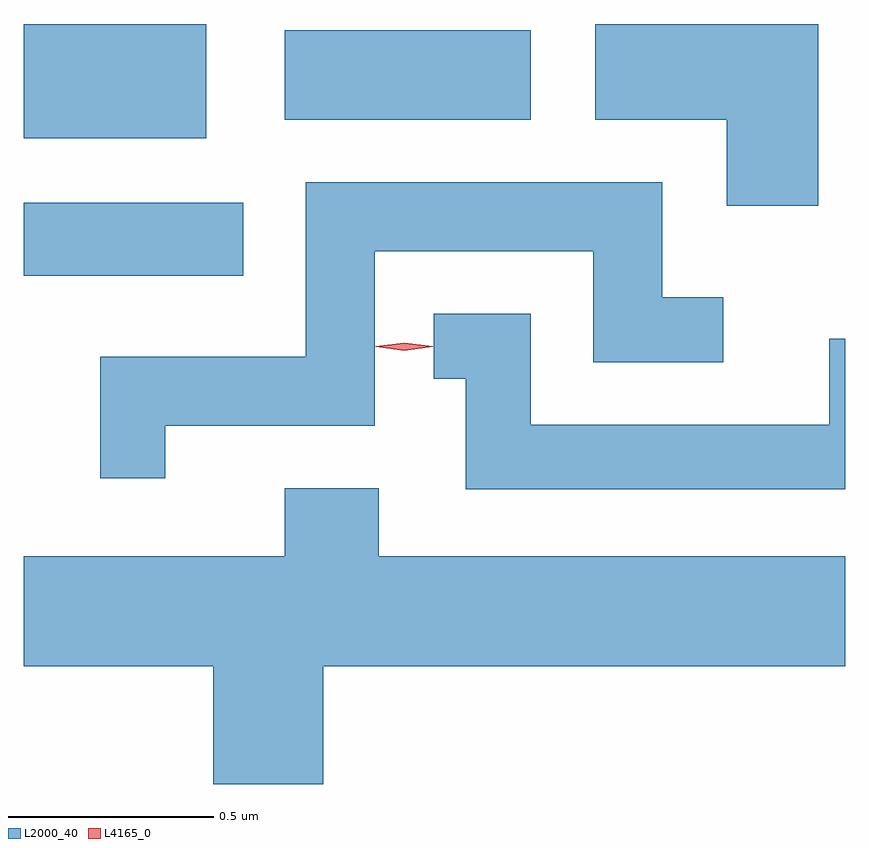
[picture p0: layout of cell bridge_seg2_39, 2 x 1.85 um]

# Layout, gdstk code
import gdstk
lib = gdstk.Library(unit=1e-6, precision=1e-09)
def R(c, l, rs):  # rectangles x0, y0, x1, y1
    for r in rs: c.add(gdstk.rectangle(r[:2], r[2:], *l))
def P(c, l, *ps):  # polygons
    for p in ps: c.add(gdstk.Polygon(p, *l))
L2000_40 = (2000, 40)
L4165_0 = (4165, 0)

bridge_seg2_39 = lib.new_cell('bridge_seg2_39')
R(bridge_seg2_39, L2000_40, [(1453.375,1053.706,1453.909,1053.884), (1453.375,1054.041,1453.819,1054.319), (1454.011,1054.086,1454.609,1054.304)])
P(bridge_seg2_39, L2000_40, [(1455.309,1054.319),(1454.766,1054.319),(1454.766,1054.086),(1455.086,1054.086),(1455.086,1053.876),(1455.309,1053.876)],
  [(1453.719,1053.341),(1454.229,1053.341),(1454.229,1053.766),(1454.761,1053.766),(1454.761,1053.496),(1455.078,1053.496),(1455.078,1053.654),(1454.929,1053.654),(1454.929,1053.934),(1454.061,1053.934),(1454.061,1053.509),(1453.561,1053.509),(1453.561,1053.213),(1453.719,1053.213)],
  [(1455.375,1053.553),(1455.336,1053.553),(1455.336,1053.344),(1454.609,1053.344),(1454.609,1053.614),(1454.373,1053.614),(1454.373,1053.456),(1454.451,1053.456),(1454.451,1053.186),(1455.375,1053.186)],
  [(1454.104,1052.756),(1455.375,1052.756),(1455.375,1053.024),(1454.239,1053.024),(1454.239,1053.189),(1454.011,1053.189),(1454.011,1053.024),(1453.375,1053.024),(1453.375,1052.756),(1453.836,1052.756),(1453.836,1052.469),(1454.104,1052.469)])
P(bridge_seg2_39, L4165_0, [(1454.301,1053.524),(1454.232,1053.533),(1454.232,1053.534),(1454.232,1053.534),(1454.301,1053.543),(1454.371,1053.534),(1454.371,1053.534),(1454.371,1053.533)])

lib.write_gds('bridge_seg2_39.gds')
